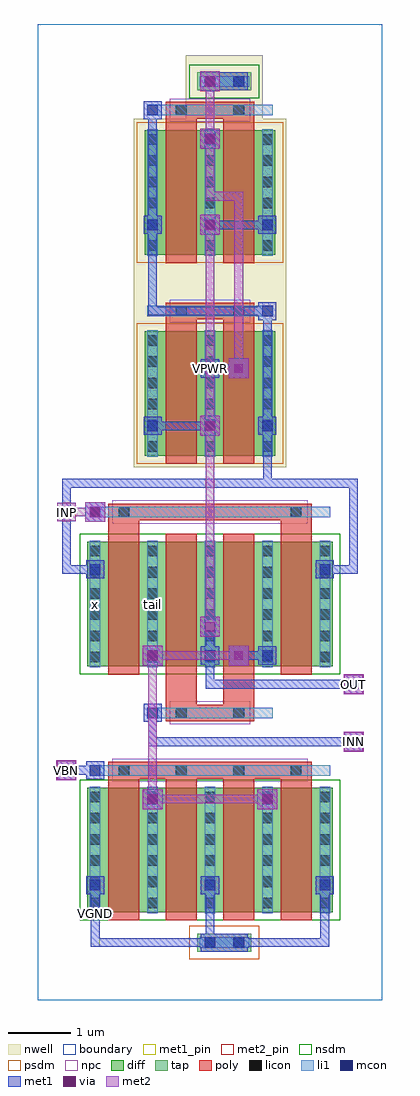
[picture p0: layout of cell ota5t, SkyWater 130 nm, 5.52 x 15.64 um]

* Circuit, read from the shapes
.subckt ota5t INN INP OUT VBN VGND VPWR tail x
XM1 tail VBN VGND VGND sky130_fd_pr__nfet_01v8 w=2 l=0.5 m=4
XM2 tail INP x VGND sky130_fd_pr__nfet_01v8 w=2 l=0.5 m=2
XM3 OUT INN tail VGND sky130_fd_pr__nfet_01v8 w=2 l=0.5 m=2
XM4 VPWR x OUT VPWR sky130_fd_pr__pfet_01v8 w=2 l=0.5 m=2
XM5 VPWR x x VPWR sky130_fd_pr__pfet_01v8 w=2 l=0.5 m=2
.ends

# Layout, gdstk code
import gdstk
lib = gdstk.Library(unit=1e-6, precision=1e-09)
def R(c, l, rs):  # rectangles x0, y0, x1, y1
    for r in rs: c.add(gdstk.rectangle(r[:2], r[2:], *l))
def A(c, l, x, y, w, h, nx, ny, dx, dy):  # array of equal rectangles
    R(c, l, [(x+i*dx, y+j*dy, x+i*dx+w, y+j*dy+h) for i in range(nx) for j in range(ny)])
nwell = (64, 20)
diff = (65, 20)
tap = (65, 44)
poly = (66, 20)
licon = (66, 44)
li1 = (67, 20)
mcon = (67, 44)
met1_pin = (68, 16)
met1 = (68, 20)
via = (68, 44)
met2_pin = (69, 16)
met2 = (69, 20)
nsdm = (93, 44)
psdm = (94, 20)
npc = (95, 20)
boundary = (235, 4)

ota5t = lib.new_cell('ota5t')
R(ota5t, nwell, [(1.535,8.54,3.985,14.12), (2.375,14.12,3.605,15.14)])
R(ota5t, diff, [(0.795,1.405,4.725,3.405), (0.795,5.345,4.725,7.345), (1.715,8.72,3.805,10.72), (1.715,11.94,3.805,13.94)])
R(ota5t, tap, [(2.555,0.775,3.425,1.065), (2.555,14.575,3.425,14.865)])
A(ota5t, poly, 1.13, 1.275, 0.5, 2.405, 4, 1, 0.92, 0)
R(ota5t, poly, [(1.13,3.545,4.39,3.815), (2.05,4.465,3.47,4.735), (2.05,4.6,2.55,7.475), (2.97,4.6,3.47,7.475), (1.13,5.215,1.63,7.82), (3.89,5.215,4.39,7.82), (1.13,7.685,4.39,7.955), (2.05,8.59,2.55,11.04), (2.97,8.59,3.47,11.04), (2.05,10.905,3.47,11.175), (2.05,11.81,2.55,14.26), (2.97,11.81,3.47,14.26), (2.05,14.125,3.47,14.395)])
A(ota5t, licon, 0.835, 1.47, 0.17, 0.17, 5, 6, 0.92, 0.34)
A(ota5t, licon, 1.295, 3.595, 0.17, 0.17, 4, 1, 0.92, 0)
A(ota5t, licon, 0.835, 5.41, 0.17, 0.17, 5, 6, 0.92, 0.34)
A(ota5t, licon, 1.755, 8.785, 0.17, 0.17, 3, 6, 0.92, 0.34)
A(ota5t, licon, 1.755, 12.005, 0.17, 0.17, 3, 6, 0.92, 0.34)
R(ota5t, licon, [(2.675,0.835,2.845,1.005), (3.135,0.835,3.305,1.005), (2.215,4.515,2.385,4.685), (3.135,4.515,3.305,4.685), (1.295,7.735,1.465,7.905), (4.055,7.735,4.225,7.905), (2.215,10.955,2.385,11.125), (3.135,10.955,3.305,11.125), (2.215,14.175,2.385,14.345), (3.135,14.175,3.305,14.345), (2.675,14.635,2.845,14.805), (3.135,14.635,3.305,14.805)])
A(ota5t, li1, 0.835, 1.39, 0.17, 2.03, 5, 2, 0.92, 3.94)
A(ota5t, li1, 1.755, 8.705, 0.17, 2.03, 3, 2, 0.92, 3.22)
R(ota5t, li1, [(2.595,0.835,3.385,1.005), (0.835,3.595,4.685,3.765), (1.755,4.515,3.765,4.685), (0.835,7.735,4.685,7.905), (1.755,10.955,3.765,11.125), (1.755,14.175,3.765,14.345), (2.595,14.635,3.385,14.805)])
A(ota5t, mcon, 0.835, 1.755, 0.17, 0.17, 3, 1, 1.84, 0)
A(ota5t, mcon, 1.755, 5.435, 0.17, 0.17, 3, 1, 0.92, 0)
R(ota5t, mcon, [(2.675,0.835,2.845,1.005), (3.135,0.835,3.305,1.005), (1.755,3.135,1.925,3.305), (3.595,3.135,3.765,3.305), (0.835,3.595,1.005,3.765), (1.755,4.515,1.925,4.685), (0.835,6.815,1.005,6.985), (4.515,6.815,4.685,6.985), (0.835,7.735,1.005,7.905), (1.755,9.115,1.925,9.285), (3.595,9.115,3.765,9.285), (2.675,10.035,2.845,10.205), (3.595,10.955,3.765,11.125), (1.755,12.335,1.925,12.505), (3.595,12.335,3.765,12.505), (2.675,13.715,2.845,13.885), (1.755,14.175,1.925,14.345), (2.675,14.635,2.845,14.805), (3.135,14.635,3.305,14.805)])
R(ota5t, met1_pin, [(0.85,0.85,0.99,1.91), (2.615,9.975,2.905,10.265)])
A(ota5t, met1, 0.85, 0.85, 0.14, 1.06, 3, 1, 1.84, 0)
A(ota5t, met1, 0.775, 1.695, 0.29, 0.29, 3, 1, 1.84, 0)
A(ota5t, met1, 1.695, 5.375, 0.29, 0.29, 3, 1, 0.92, 0)
A(ota5t, met1, 2.6, 5.82, 0.32, 0.32, 1, 3, 0, 3.22)
R(ota5t, met1, [(2.615,0.775,3.365,1.065), (0.85,0.85,2.83,0.99), (2.69,0.85,2.83,0.99), (2.69,0.85,4.67,0.99), (1.68,3.06,2,3.38), (3.52,3.06,3.84,3.38), (1.695,3.075,1.985,3.365), (3.535,3.075,3.825,3.365), (0.3,3.52,0.62,3.84), (0.775,3.535,1.065,3.825), (0.39,3.61,0.99,3.75), (4.9,3.98,5.22,4.3), (1.77,4.07,1.91,4.67), (1.77,4.07,5.13,4.21), (1.695,4.455,1.985,4.745), (4.9,4.9,5.22,5.22), (2.69,4.99,2.83,5.59), (2.69,4.99,5.13,5.13), (1.68,5.36,2,5.68), (3.06,5.36,3.38,5.68), (2.69,5.45,2.83,6.05), (3.15,5.45,3.75,5.59), (0.775,6.755,1.065,7.045), (4.455,6.755,4.745,7.045), (0.39,6.83,0.99,6.97), (0.39,6.83,0.53,8.35), (4.53,6.83,5.13,6.97), (4.99,6.83,5.13,8.35), (0.76,7.66,1.08,7.98), (0.775,7.675,1.065,7.965), (0.39,8.21,3.75,8.35), (3.61,8.21,3.75,9.27), (3.61,8.21,5.13,8.35), (1.695,9.055,1.985,9.345), (3.535,9.055,3.825,9.345), (1.77,9.13,2.83,9.27), (3.61,9.13,3.75,11.11), (3.06,9.96,3.38,10.28), (2.615,9.975,2.905,10.265), (2.69,10.05,3.29,10.19), (3.535,10.895,3.825,11.185), (1.77,10.97,3.75,11.11), (1.77,10.97,1.91,12.49), (1.695,12.275,1.985,12.565), (3.535,12.275,3.825,12.565), (1.77,12.35,1.91,14.33), (2.69,12.35,3.75,12.49), (2.6,13.64,2.92,13.96), (2.615,13.655,2.905,13.945), (1.695,14.115,1.985,14.405), (2.6,14.56,2.92,14.88), (2.615,14.575,3.365,14.865), (2.69,14.65,2.83,14.79)])
A(ota5t, via, 2.685, 5.905, 0.15, 0.15, 1, 3, 0, 3.22)
R(ota5t, via, [(1.765,3.145,1.915,3.295), (3.605,3.145,3.755,3.295), (0.385,3.605,0.535,3.755), (4.985,4.065,5.135,4.215), (4.985,4.985,5.135,5.135), (1.765,5.445,1.915,5.595), (3.145,5.445,3.295,5.595), (0.845,7.745,0.995,7.895), (3.145,10.045,3.295,10.195), (2.685,13.725,2.835,13.875), (2.685,14.645,2.835,14.795)])
R(ota5t, met2_pin, [(0.31,3.53,0.61,3.83), (4.91,3.99,5.21,4.29), (4.91,4.91,5.21,5.21), (0.31,7.67,0.61,7.97)])
A(ota5t, met2, 2.6, 5.82, 0.32, 0.32, 1, 3, 0, 3.22)
R(ota5t, met2, [(1.68,3.06,2,3.38), (3.52,3.06,3.84,3.38), (1.77,3.15,1.91,5.59), (1.77,3.15,3.75,3.29), (0.3,3.52,0.62,3.84), (0.31,3.53,0.61,3.83), (0.39,3.61,0.53,3.75), (4.9,3.98,5.22,4.3), (4.91,3.99,5.21,4.29), (4.99,4.07,5.13,4.21), (4.9,4.9,5.22,5.22), (4.91,4.91,5.21,5.21), (4.99,4.99,5.13,5.13), (1.68,5.36,2,5.68), (3.06,5.36,3.38,5.68), (1.77,5.45,3.29,5.59), (2.69,5.91,2.83,9.27), (0.76,7.66,1.08,7.98), (0.31,7.67,0.61,7.97), (0.39,7.75,0.53,7.89), (0.39,7.75,0.99,7.89), (2.69,9.13,2.83,12.49), (3.06,9.96,3.38,10.28), (3.15,10.05,3.29,12.95), (2.69,12.81,2.83,13.87), (2.69,12.81,3.29,12.95), (2.6,13.64,2.92,13.96), (2.69,13.73,2.83,14.79), (2.6,14.56,2.92,14.88)])
R(ota5t, nsdm, [(0.67,1.28,4.85,3.53), (0.67,5.22,4.85,7.47), (2.43,14.45,3.55,14.99)])
R(ota5t, psdm, [(2.43,0.65,3.55,1.19), (1.59,8.595,3.93,10.845), (1.59,11.815,3.93,14.065)])
R(ota5t, npc, [(1.195,3.495,4.325,3.865), (2.115,4.415,3.405,4.785), (1.195,7.635,4.325,8.005), (2.115,10.855,3.405,11.225), (2.115,14.075,3.405,14.445)])
R(ota5t, boundary, [(0,0,5.52,15.64)])
ota5t.add(gdstk.Label('x', (0.92,6.345), layer=67, texttype=5))
ota5t.add(gdstk.Label('tail', (1.84,6.345), layer=67, texttype=5))
ota5t.add(gdstk.Label('VPWR', (2.76,10.12), layer=68, texttype=5))
ota5t.add(gdstk.Label('VGND', (0.92,1.38), layer=68, texttype=5))
ota5t.add(gdstk.Label('INP', (0.46,7.82), layer=69, texttype=5))
ota5t.add(gdstk.Label('INN', (5.06,4.14), layer=69, texttype=5))
ota5t.add(gdstk.Label('VBN', (0.46,3.68), layer=69, texttype=5))
ota5t.add(gdstk.Label('OUT', (5.06,5.06), layer=69, texttype=5))
ota5t.add(gdstk.Label('VPWR', (2.76,10.12), layer=68, texttype=16))
ota5t.add(gdstk.Label('VGND', (0.92,1.38), layer=68, texttype=16))
ota5t.add(gdstk.Label('INP', (0.46,7.82), layer=69, texttype=16))
ota5t.add(gdstk.Label('INN', (5.06,4.14), layer=69, texttype=16))
ota5t.add(gdstk.Label('VBN', (0.46,3.68), layer=69, texttype=16))
ota5t.add(gdstk.Label('OUT', (5.06,5.06), layer=69, texttype=16))

lib.write_gds('ota5t.gds')
